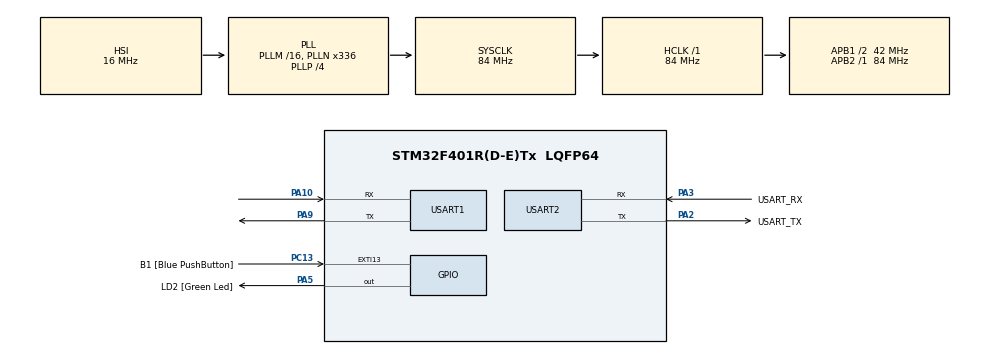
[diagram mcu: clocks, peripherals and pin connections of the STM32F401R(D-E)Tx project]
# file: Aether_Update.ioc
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FREERTOS.INCLUDE_vTaskDelayUntil=0
FREERTOS.INCLUDE_xTaskGetHandle=1
FREERTOS.Tasks01=defaultTask,0,128,StartDefaultTask,Default,NULL,Dynamic,NULL,NULL;receiveTask,0,256,StartReceiveTask,Default,NULL,Dynamic,NULL,NULL;statusTask,0,128,StartStatusTask,Default,NULL,Dynamic,NULL,NULL;updateTask,0,256,StartUpdateTask,Default,NULL,Dynamic,NULL,NULL
FREERTOS.configCHECK_FOR_STACK_OVERFLOW=0
FREERTOS.configENABLE_FPU=1
FREERTOS.configGENERATE_RUN_TIME_STATS=0
FREERTOS.configRECORD_STACK_HIGH_ADDRESS=0
FREERTOS.configUSE_NEWLIB_REENTRANT=1
FREERTOS.configUSE_STATS_FORMATTING_FUNCTIONS=0
FREERTOS.configUSE_TRACE_FACILITY=0
Mcu.Family=STM32F4
Mcu.Name=STM32F401R(D-E)Tx
Mcu.Package=LQFP64
NVIC.EXTI15_10_IRQn=true\:6\:0\:true\:false\:true\:true\:true\:true\:true
NVIC.PriorityGroup=NVIC_PRIORITYGROUP_4
NVIC.TIM5_IRQn=true\:15\:0\:false\:false\:true\:false\:false\:true\:true
NVIC.TimeBase=TIM5_IRQn
NVIC.TimeBaseIP=TIM5
PA10.GPIO_Speed=GPIO_SPEED_FREQ_LOW
PA10.Mode=Asynchronous
PA10.Signal=USART1_RX
PA13.GPIO_Label=TMS
PA13.Mode=Serial_Wire
PA13.Signal=SYS_JTMS-SWDIO
PA14.GPIO_Label=TCK
PA14.Mode=Serial_Wire
PA14.Signal=SYS_JTCK-SWCLK
PA2.GPIO_Label=USART_TX
PA2.GPIO_Mode=GPIO_MODE_AF_PP
PA2.GPIO_PuPd=GPIO_NOPULL
PA2.GPIO_Speed=GPIO_SPEED_FREQ_LOW
PA2.Mode=Asynchronous
PA2.Signal=USART2_TX
PA3.GPIO_Label=USART_RX
PA3.GPIO_Mode=GPIO_MODE_AF_PP
PA3.GPIO_PuPd=GPIO_NOPULL
PA3.GPIO_Speed=GPIO_SPEED_FREQ_LOW
PA3.Mode=Asynchronous
PA3.Signal=USART2_RX
PA5.GPIO_Label=LD2 [Green Led]
PA5.GPIO_Mode=GPIO_MODE_OUTPUT_PP
PA5.GPIO_PuPd=GPIO_NOPULL
PA5.GPIO_Speed=GPIO_SPEED_FREQ_LOW
PA5.Signal=GPIO_Output
PA9.GPIO_Speed=GPIO_SPEED_FREQ_LOW
PA9.Mode=Asynchronous
PA9.Signal=USART1_TX
PB3.GPIO_Label=SWO
PB3.Signal=SYS_JTDO-SWO
PC13-ANTI_TAMP.GPIO_Label=B1 [Blue PushButton]
PC13-ANTI_TAMP.GPIO_ModeDefaultEXTI=GPIO_MODE_IT_FALLING
PC13-ANTI_TAMP.Signal=GPXTI13
PC14-OSC32_IN.Mode=LSE-External-Oscillator
PC14-OSC32_IN.Signal=RCC_OSC32_IN
PC15-OSC32_OUT.Mode=LSE-External-Oscillator
PC15-OSC32_OUT.Signal=RCC_OSC32_OUT
PH0\ -\ OSC_IN.Mode=HSE-External-Clock-Source
PH0\ -\ OSC_IN.Signal=RCC_OSC_IN
PH1\ -\ OSC_OUT.Mode=HSE-External-Clock-Source
PH1\ -\ OSC_OUT.Signal=RCC_OSC_OUT
ProjectManager.HeapSize=0x200
ProjectManager.StackSize=0x512
ProjectManager.TargetToolchain=STM32CubeIDE
RCC.48MHZClocksFreq_Value=48000000
RCC.AHBFreq_Value=84000000
RCC.APB1CLKDivider=RCC_HCLK_DIV2
RCC.APB1Freq_Value=42000000
RCC.APB1TimFreq_Value=84000000
RCC.APB2Freq_Value=84000000
RCC.APB2TimFreq_Value=84000000
RCC.CortexFreq_Value=84000000
RCC.HCLKFreq_Value=84000000
RCC.HSE_VALUE=8000000
RCC.HSI_VALUE=16000000
RCC.PLLN=336
RCC.PLLP=RCC_PLLP_DIV4
RCC.PLLQ=7
RCC.SYSCLKFreq_VALUE=84000000
RCC.SYSCLKSource=RCC_SYSCLKSOURCE_PLLCLK
RCC.VCOOutputFreq_Value=336000000
TIM1.AutoReloadPreload=TIM_AUTORELOAD_PRELOAD_ENABLE
TIM1.Period=20999
TIM1.Prescaler=3999
USART1.VirtualMode=VM_ASYNC
USART2.VirtualMode=VM_ASYNC
VP_CRC_VS_CRC.Mode=CRC_Activate
VP_FREERTOS_VS_CMSIS_V1.Mode=CMSIS_V1
VP_SYS_VS_tim5.Mode=TIM5
VP_TIM1_VS_ClockSourceINT.Mode=Internal
board=NUCLEO-F401RE

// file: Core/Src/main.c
/* USER CODE BEGIN Header */
/**
  ******************************************************************************
  * @file           : main.c
  * @brief          : Main program body
  ******************************************************************************
  * @attention
  *
  * Copyright (c) 2024 STMicroelectronics.
  * All rights reserved.
  *
  * This software is licensed under terms that can be found in the LICENSE file
  * in the root directory of this software component.
  * If no LICENSE file comes with this software, it is provided AS-IS.
  *
  ******************************************************************************
  */
/* USER CODE END Header */
#include "main.h"
#include "cmsis_os.h"

/* USER CODE BEGIN Includes */
#include <stdio.h>
#include <string.h>
#include <stdarg.h>
#include "eeprom.h"
#include "retarget.h"
#include "writeToFlash.h"
/* USER CODE END Includes */

CRC_HandleTypeDef hcrc;

TIM_HandleTypeDef htim1;

UART_HandleTypeDef huart1;
UART_HandleTypeDef huart2;

osThreadId defaultTaskHandle;
osThreadId receiveTaskHandle;
osThreadId statusTaskHandle;
osThreadId updateTaskHandle;
/* USER CODE BEGIN PV */

uint8_t version = 1;
static int statusDelay = 10000;
uint8_t dataLengthOrig = 0;
uint8_t dataLengthNew = 0;

/* Virtual address defined by the user: 0xFFFF value is prohibited */
/*uint16_t VirtAddVarTab[NB_OF_VAR];
uint16_t VarDataTab[NB_OF_VAR] = { 'M', 'a', 't', 'e', 'u', 's', 'z', ' ', 'S',
		'a', 'l', 'a', 'm', 'o', 'n', ' ', 'm', 's', 'a', 'l', 'a', 'm', 'o',
		'n', '.', 'p', 'l' };
uint8_t VarDataTabRead[NB_OF_VAR];
uint16_t VarIndex, VarDataTmp = 0;*/
/* USER CODE END PV */

void SystemClock_Config(void);
static void MX_GPIO_Init(void);
static void MX_USART2_UART_Init(void);
static void MX_TIM1_Init(void);
static void MX_CRC_Init(void);
static void MX_USART1_UART_Init(void);
void StartDefaultTask(void const * argument);
void StartReceiveTask(void const * argument);
void StartStatusTask(void const * argument);
void StartUpdateTask(void const * argument);

/* USER CODE BEGIN 0 */
//#define LOCATE_FUNC  __attribute__((__section__(".mysection")))

/* USER CODE END 0 */

int main(void)
{

  /* USER CODE BEGIN 1 */
	//NVIC_PriorityGroupConfig( NVIC_PriorityGroup_4 );

  /* USER CODE END 1 */

  /* MCU Configuration--------------------------------------------------------*/

  /* Reset of all peripherals, Initializes the Flash interface and the Systick. */
  HAL_Init();

  /* Configure the system clock */
  SystemClock_Config();

  /* Initialize all configured peripherals */
  MX_GPIO_Init();
  MX_USART2_UART_Init();
  MX_TIM1_Init();
  MX_CRC_Init();
  MX_USART1_UART_Init();
  /* USER CODE BEGIN 2 */
  RetargetInit(&huart2);
  printf("--------F401: Starting up.....\r\n");

  // Write initial data to EEPROM
  char data[50] = "This is the original data";
  dataLengthOrig = strlen(data);

	// Fill EEPROM variables addresses
	uint16_t VirtAddVarTab[dataLengthOrig];
	uint8_t VarDataTabRead[50];
	uint8_t dataLength = strlen(data);

	HAL_Delay(2000);

		// Unlock the Flash Program Erase controller
		HAL_FLASH_Unlock();

		/* EEPROM Init */
		if (EE_Init() != EE_OK) {
			Error_Handler();
		}

		// Fill EEPROM variables addresses
		for (uint16_t i = 1; i <= dataLength; i++) {
			VirtAddVarTab[i - 1] = i;
		}

		// Store Values in EEPROM emulation
		for (uint16_t i = 0; i < dataLength; i++) {
			/* Sequence 1 */
			if ((EE_WriteVariable(VirtAddVarTab[i], data[i]))
					!= HAL_OK) {
				Error_Handler();
			}
		}

		// Read values
		for (uint16_t i = 0; i < dataLength; i++) {
			if ((EE_ReadVariable(VirtAddVarTab[i],
					&VarDataTabRead[i])) != HAL_OK) {
				Error_Handler();
			}
		}

	printf("	Startup: Successfully saved original data to EEPROM \r\n");
  //writeToFlash(huart2, data);

  /* USER CODE END 2 */

  /* Create the thread(s) */
  /* definition and creation of defaultTask */
  osThreadDef(defaultTask, StartDefaultTask, osPriorityNormal, 0, 128);
  defaultTaskHandle = osThreadCreate(osThread(defaultTask), NULL);

  /* definition and creation of receiveTask */
  osThreadDef(receiveTask, StartReceiveTask, osPriorityNormal, 0, 256);
  receiveTaskHandle = osThreadCreate(osThread(receiveTask), NULL);

  /* definition and creation of statusTask */
  osThreadDef(statusTask, StartStatusTask, osPriorityNormal, 0, 128);
  statusTaskHandle = osThreadCreate(osThread(statusTask), NULL);

  /* definition and creation of updateTask */
  osThreadDef(updateTask, StartUpdateTask, osPriorityNormal, 0, 256);
  updateTaskHandle = osThreadCreate(osThread(updateTask), NULL);

  /* USER CODE BEGIN RTOS_THREADS */
  /* add threads, ... */
  //vTaskSuspend(receiveTaskHandle);
  //vTaskSuspend(updateTaskHandle);
  /* USER CODE END RTOS_THREADS */

  /* Start scheduler */
  osKernelStart();

  /* We should never get here as control is now taken by the scheduler */

  /* Infinite loop */
  while (1)
  {

  }
}

void SystemClock_Config(void)
{
  RCC_OscInitTypeDef RCC_OscInitStruct = {0};
  RCC_ClkInitTypeDef RCC_ClkInitStruct = {0};

  /** Configure the main internal regulator output voltage
  */
  __HAL_RCC_PWR_CLK_ENABLE();
  __HAL_PWR_VOLTAGESCALING_CONFIG(PWR_REGULATOR_VOLTAGE_SCALE2);

  /** Initializes the RCC Oscillators according to the specified parameters
  * in the RCC_OscInitTypeDef structure.
  */
  RCC_OscInitStruct.OscillatorType = RCC_OSCILLATORTYPE_HSI;
  RCC_OscInitStruct.HSIState = RCC_HSI_ON;
  RCC_OscInitStruct.HSICalibrationValue = RCC_HSICALIBRATION_DEFAULT;
  RCC_OscInitStruct.PLL.PLLState = RCC_PLL_ON;
  RCC_OscInitStruct.PLL.PLLSource = RCC_PLLSOURCE_HSI;
  RCC_OscInitStruct.PLL.PLLM = 16;
  RCC_OscInitStruct.PLL.PLLN = 336;
  RCC_OscInitStruct.PLL.PLLP = RCC_PLLP_DIV4;
  RCC_OscInitStruct.PLL.PLLQ = 7;
  if (HAL_RCC_OscConfig(&RCC_OscInitStruct) != HAL_OK)
  {
    Error_Handler();
  }

  /** Initializes the CPU, AHB and APB buses clocks
  */
  RCC_ClkInitStruct.ClockType = RCC_CLOCKTYPE_HCLK|RCC_CLOCKTYPE_SYSCLK
                              |RCC_CLOCKTYPE_PCLK1|RCC_CLOCKTYPE_PCLK2;
  RCC_ClkInitStruct.SYSCLKSource = RCC_SYSCLKSOURCE_PLLCLK;
  RCC_ClkInitStruct.AHBCLKDivider = RCC_SYSCLK_DIV1;
  RCC_ClkInitStruct.APB1CLKDivider = RCC_HCLK_DIV2;
  RCC_ClkInitStruct.APB2CLKDivider = RCC_HCLK_DIV1;

  if (HAL_RCC_ClockConfig(&RCC_ClkInitStruct, FLASH_LATENCY_2) != HAL_OK)
  {
    Error_Handler();
  }
}

static void MX_CRC_Init(void)
{

  hcrc.Instance = CRC;
  if (HAL_CRC_Init(&hcrc) != HAL_OK)
  {
    Error_Handler();
  }

}

static void MX_TIM1_Init(void)
{

  TIM_ClockConfigTypeDef sClockSourceConfig = {0};
  TIM_MasterConfigTypeDef sMasterConfig = {0};

  htim1.Instance = TIM1;
  htim1.Init.Prescaler = 3999;
  htim1.Init.CounterMode = TIM_COUNTERMODE_UP;
  htim1.Init.Period = 20999;
  htim1.Init.ClockDivision = TIM_CLOCKDIVISION_DIV1;
  htim1.Init.RepetitionCounter = 0;
  htim1.Init.AutoReloadPreload = TIM_AUTORELOAD_PRELOAD_ENABLE;
  if (HAL_TIM_Base_Init(&htim1) != HAL_OK)
  {
    Error_Handler();
  }
  sClockSourceConfig.ClockSource = TIM_CLOCKSOURCE_INTERNAL;
  if (HAL_TIM_ConfigClockSource(&htim1, &sClockSourceConfig) != HAL_OK)
  {
    Error_Handler();
  }
  sMasterConfig.MasterOutputTrigger = TIM_TRGO_RESET;
  sMasterConfig.MasterSlaveMode = TIM_MASTERSLAVEMODE_DISABLE;
  if (HAL_TIMEx_MasterConfigSynchronization(&htim1, &sMasterConfig) != HAL_OK)
  {
    Error_Handler();
  }

}

static void MX_USART1_UART_Init(void)
{

  huart1.Instance = USART1;
  huart1.Init.BaudRate = 115200;
  huart1.Init.WordLength = UART_WORDLENGTH_8B;
  huart1.Init.StopBits = UART_STOPBITS_1;
  huart1.Init.Parity = UART_PARITY_NONE;
  huart1.Init.Mode = UART_MODE_TX_RX;
  huart1.Init.HwFlowCtl = UART_HWCONTROL_NONE;
  huart1.Init.OverSampling = UART_OVERSAMPLING_16;
  if (HAL_UART_Init(&huart1) != HAL_OK)
  {
    Error_Handler();
  }

}

static void MX_USART2_UART_Init(void)
{

  huart2.Instance = USART2;
  huart2.Init.BaudRate = 115200;
  huart2.Init.WordLength = UART_WORDLENGTH_8B;
  huart2.Init.StopBits = UART_STOPBITS_1;
  huart2.Init.Parity = UART_PARITY_NONE;
  huart2.Init.Mode = UART_MODE_TX_RX;
  huart2.Init.HwFlowCtl = UART_HWCONTROL_NONE;
  huart2.Init.OverSampling = UART_OVERSAMPLING_16;
  if (HAL_UART_Init(&huart2) != HAL_OK)
  {
    Error_Handler();
  }

}

static void MX_GPIO_Init(void)
{
  GPIO_InitTypeDef GPIO_InitStruct = {0};

  /* GPIO Ports Clock Enable */
  __HAL_RCC_GPIOC_CLK_ENABLE();
  __HAL_RCC_GPIOH_CLK_ENABLE();
  __HAL_RCC_GPIOA_CLK_ENABLE();
  __HAL_RCC_GPIOB_CLK_ENABLE();

  /*Configure GPIO pin Output Level */
  HAL_GPIO_WritePin(LD2_GPIO_Port, LD2_Pin, GPIO_PIN_RESET);

  /*Configure GPIO pin : B1_Pin */
  GPIO_InitStruct.Pin = B1_Pin;
  GPIO_InitStruct.Mode = GPIO_MODE_IT_FALLING;
  GPIO_InitStruct.Pull = GPIO_NOPULL;
  HAL_GPIO_Init(B1_GPIO_Port, &GPIO_InitStruct);

  /*Configure GPIO pin : LD2_Pin */
  GPIO_InitStruct.Pin = LD2_Pin;
  GPIO_InitStruct.Mode = GPIO_MODE_OUTPUT_PP;
  GPIO_InitStruct.Pull = GPIO_NOPULL;
  GPIO_InitStruct.Speed = GPIO_SPEED_FREQ_LOW;
  HAL_GPIO_Init(LD2_GPIO_Port, &GPIO_InitStruct);

  /* EXTI interrupt init*/
  HAL_NVIC_SetPriority(EXTI15_10_IRQn, 6, 0);
  HAL_NVIC_EnableIRQ(EXTI15_10_IRQn);

}

/* USER CODE BEGIN 4 */

// Interrupt handler
void HAL_GPIO_EXTI_Callback(uint16_t GPIO_Pin)
{
	uint32_t ulStatusRegister;
  // Execute when blue push button pressed
  if(GPIO_Pin == GPIO_PIN_13) {
	  printf("-- Button pressed, starting receive task \r\n");
	  BaseType_t xHigherPriorityTaskWoken = pdFALSE;
	  xTaskNotifyFromISR( receiveTaskHandle, 0x01, eSetBits, &xHigherPriorityTaskWoken );
	  portYIELD_FROM_ISR( xHigherPriorityTaskWoken );
  } else {
      __NOP();
  }
}

/* USER CODE END 4 */

void StartDefaultTask(void const * argument)
{
  /* USER CODE BEGIN 5 */
  /* Infinite loop */
  for(;;)
  {
	  HAL_GPIO_TogglePin(GPIOA, GPIO_PIN_5);
	  //printf("F401: Normal operation \r\n");
	  osDelay(200);
  }
  /* USER CODE END 5 */
}

void StartReceiveTask(void const * argument)
{
  /* USER CODE BEGIN StartReceiveTask */
	char input[100];
	/* Infinite loop */
	for (;;) {
		// Wait until button is pressed
		xTaskNotifyWait( 0x00, 0xffffffff, NULL, portMAX_DELAY);

		// Read the user input
		printf("\r\n 	Provide update code: \r\n");
		if (fgets(input, 10, stdin)) {
			printf("	Code received:  %s \r\n", input);
			uint16_t len = strlen(input);

			//---- CRC ----
			uint32_t data32bit[len];
			for(uint16_t i = 0; i < len; i++){
				data32bit[i] = (uint32_t) input[i];
			}

			uint32_t crcValue = HAL_CRC_Calculate(&hcrc, data32bit, len);
			printf("		crcValue: %lu \r\n", crcValue);

			// Split CRC for storage in EEPROM
			uint8_t a,b,c,d;
			a=(crcValue >> 24) & 0xFF;
			b=(crcValue >> 16) & 0xFF;
			c=(crcValue >> 8) & 0xFF;
			d=(crcValue) & 0xFF;

			input[len] = a;
			input[len+1] = b;
			input[len+2] = c;
			input[len+3] = d;

			//---- Write to EEPROM ----
			dataLengthNew = strlen(input);
			uint16_t VirtAddVarTab[dataLengthNew];

			// Unlock the Flash Program Erase controller
			HAL_FLASH_Unlock();

			// EEPROM Init
			if (EE_Init() != EE_OK) {
				Error_Handler();
			}

			// Fill EEPROM variables addresses with offset from original data
			for (uint16_t i = 1; i <= dataLengthNew; i++) {
				VirtAddVarTab[i - 1] = 100 + i;
			}

			// Store values in EEPROM emulation
			for (uint16_t i = 0; i < dataLengthNew; i++) {
				// Sequence 1
				if ((EE_WriteVariable(VirtAddVarTab[i], input[i])) != HAL_OK) {
					printf("! Error in saving update data to EEPROM \r\n");
					Error_Handler();
				}
			}
			//printf("	Update data and CRC saved on EEPROM \r\n");

			// Read values for debugging:
			uint8_t VarDataTabRead[dataLengthNew+10];
			for (uint16_t i = 0; i < dataLengthNew; i++) {
				if ((EE_ReadVariable(VirtAddVarTab[i], &VarDataTabRead[i])) != HAL_OK) {
					printf("! Error in reading update data from EEPROM \r\n");
					Error_Handler();
				}
			}
			printf("	Successfully read update data: %s \r\n", VarDataTabRead);
			uint32_t storedCrc = (((uint32_t)VarDataTabRead[dataLengthNew-4]) << 24) | (((uint32_t)VarDataTabRead[dataLengthNew-3]) << 16) | (((uint32_t)VarDataTabRead[dataLengthNew-2]) << 8) | ((uint32_t)VarDataTabRead[dataLengthNew-1]);
			printf("	crc value: %lu \r\n", storedCrc);

			// Resume updateTask
			xTaskNotifyGive(updateTaskHandle);

		} else {
			printf("! Invalid input \r\n");
		}
		//printf("-- receiveTask finished \r\n");
	}
  /* USER CODE END StartReceiveTask */
}

void StartStatusTask(void const * argument)
{
  /* USER CODE BEGIN StartStatusTask */
  int prevTime = HAL_GetTick();
  /* Infinite loop */
  for(;;)
  {
	  int currentTime = HAL_GetTick();
	  if(currentTime < prevTime + statusDelay) {
		  osDelay(currentTime + statusDelay - currentTime);
	  } else {
		  printf("	F401: Starting status transmission \r\n");
		  uint8_t checkSum = 2+version;
		  uint8_t tx_buff[]={1,0,1,0,version,checkSum};
		  HAL_UART_Transmit(&huart1, tx_buff, 6, 1000);
		  osDelay(10000);
	  }
  }
  /* USER CODE END StartStatusTask */
}

void StartUpdateTask(void const * argument)
{
  /* USER CODE BEGIN StartUpdateTask */
  /* Infinite loop */
  for(;;)
  {
	  // Wait for notification from receiveTask
	  ulTaskNotifyTake( 0x00, portMAX_DELAY );
	  osDelay(500);

	  printf("-- updateTask started \r\n");

	  HAL_FLASH_Unlock();

		/* EEPROM Init */
		if (EE_Init() != EE_OK) {
			Error_Handler();
		}

	  // Read from EEPROM
	  // Fill EEPROM variables addresses on the update data
		uint16_t VirtAddNew[dataLengthNew];
		for (uint16_t i = 1; i <= dataLengthNew; i++) {
			VirtAddNew[i - 1] = 100 + i;
		}
	  char data[50] = "Fault";
	  //uint8_t data[50];
	  for (uint16_t i = 0; i < dataLengthNew; i++) {
	  		if ((EE_ReadVariable(VirtAddNew[i], &data[i])) != HAL_OK) {
	  			printf("! Error reading update data \r\n");
	  			Error_Handler();
	  		}
	  }

	  printf("	Update data read from EEPROM: %s \r\n", data);

	  // Fault introduction
	  /*int faultMask = 1;
	  printf("Before fault: %i \r\n", data[0]);
	  data[0] ^= faultMask;
	  printf("After fault: %i \r\n", data[0]);*/

	  //CRC

	  uint32_t origCRC = (((uint32_t)data[dataLengthNew-4]) << 24) | (((uint32_t)data[dataLengthNew-3]) << 16) | (((uint32_t)data[dataLengthNew-2]) << 8) | ((uint32_t)data[dataLengthNew-1]);
	  printf("		Orig CRC: %lu \r\n", origCRC);

	  uint32_t data32bit[dataLengthNew-4];
	  for(uint16_t i = 0; i < dataLengthNew - 4; i++){
		  data32bit[i] = (uint32_t) data[i];
	  }

	  uint32_t crcValue = HAL_CRC_Calculate(&hcrc, data32bit, dataLengthNew-4);
	  printf("		CRC: %lu \r\n", crcValue);

	  if(crcValue == origCRC){
		  printf("		CRC matches memory value \r\n");
	  } else {
		  printf("! CRC doesn't match memory, update should be cancelled \r\n");
	  }

	  // Write to EEPROM
	  // Unlock the Flash Program Erase controller
		uint16_t VirtAddOrig[dataLengthOrig];
			for (uint16_t i = 1; i <= dataLengthOrig; i++) {
				VirtAddOrig[i - 1] = i;
			}

		// Read values for debugging:
		uint8_t VarDataTabReadA[dataLengthOrig];
		for (uint16_t i = 0; i < dataLengthOrig; i++) {
			if ((EE_ReadVariable(VirtAddOrig[i], &VarDataTabReadA[i])) != HAL_OK) {
				printf("! Error in reading update data after update \r\n");
				Error_Handler();
			}
		}
		printf("	Successfully read data prior to update: %s \r\n", VarDataTabReadA);

		//---- UPDATE ----
		printf("	Start writing update data \r\n");
		printf("Data to write: %s \r\n", data);
		// Store values in EEPROM emulation except CRC (-5) and newline (-1)
		for (uint16_t i = 0; i < dataLengthNew - 6; i++) {
			if ((EE_WriteVariable(VirtAddOrig[i], data[i])) != HAL_OK) {
				printf("! Error in writing update data \r\n");
				Error_Handler();
			}
		}
		printf("	Update data written on EEPROM \r\n");

		// Read values for debugging:
		uint8_t VarDataTabRead[dataLengthOrig];
		for (uint16_t i = 0; i < dataLengthOrig; i++) {
			if ((EE_ReadVariable(VirtAddOrig[i], &VarDataTabRead[i])) != HAL_OK) {
				printf("! Error in reading update data after update \r\n");
				Error_Handler();
			}
		}

		printf("\r\n");
		printf("Data read after update: %s \r\n", VarDataTabRead);
		printf("\r\n");

	  version++;
	  printf("Code update successful \r\n");

	  // Check if other two tasks are still running
	  if(xTaskGetHandle("statusTask") == NULL){
		  printf("StatusTask gone \r\n");
	  }
	  if(xTaskGetHandle("defaultTask") == NULL){
		  printf("DefaultTask gone \r\n");
	  }

  }
  /* USER CODE END StartUpdateTask */
}

void HAL_TIM_PeriodElapsedCallback(TIM_HandleTypeDef *htim)
{
  if (htim->Instance == TIM5) {
    HAL_IncTick();
  }
}

void Error_Handler(void)
{
  /* USER CODE BEGIN Error_Handler_Debug */
  /* User can add his own implementation to report the HAL error return state */
  __disable_irq();
  osDelay(1000);
  printf("HAL ERROR \r\n");
  while (1)
  {
  }
  /* USER CODE END Error_Handler_Debug */
}
